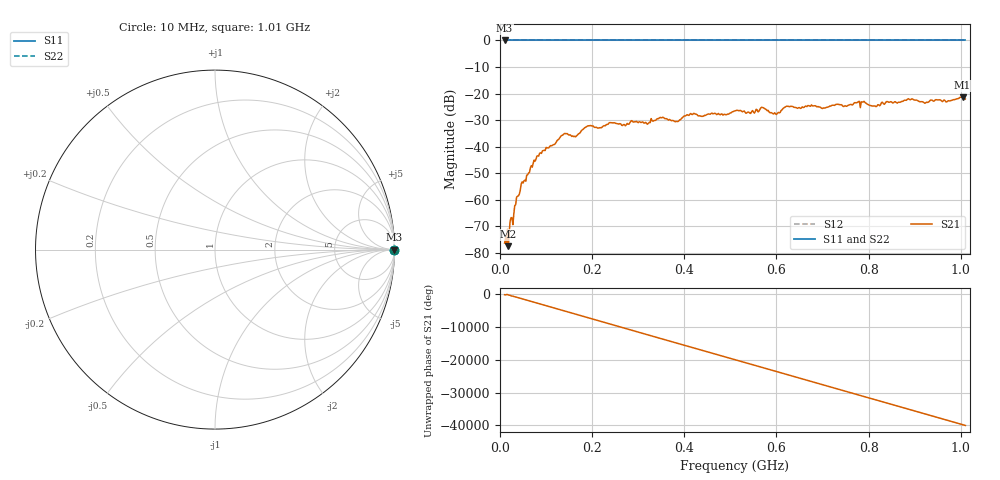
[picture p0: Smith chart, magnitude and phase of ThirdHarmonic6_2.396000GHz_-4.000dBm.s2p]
! 8/17/2025 3:55:03 AM
! C:\ANRITSUVNA\TEMP\TEMP.S2P
! CHANNEL.1
! TR.MEASUREMENT
! RAW.DATA
! RF.CORRECTION.OFF
! AVERAGING.OFF
! IF.BANDWIDTH: 5KHZ
! SWEEPTYPE:  FREQ.SWEEP(Linear)
! Reference Plane Port Info
! PORT:  PORT1  PORT2
! DISTANCE:  0  m  0  m
! TIME:  0  s  0  s
! PHASE.OFFSET:  0  deg.  0  deg.
! LOSS:  0  dB  0  dB
! REF.LOSS:  0  dB  0  dB
! REF.FREQ:  0  Hz  0  Hz
! Power Info
! POWER:  -20  dBm  -20  dBm
! EFF.POWER:  -20  dBm  -20  dBm
! SOURCE.ATTEN:  0  dB  0  dB
! TEST.ATTEN:  0  dB  0  dB
# GHZ S RI R 50.0
! FREQ.GHZ  S11RE  S11IM  S21RE  S21IM  S12RE  S12IM  S22RE  S22IM
!; PortSelection: Port_12
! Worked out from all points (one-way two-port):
!   501 points, 10 MHz to 1.01 GHz, reference 50 ohm
!   highest |S21| = -21.33 dB at 1.004 GHz (marker M1); lowest = -77.4 dB at 18 MHz (marker M2)
!   lowest |S11| = 0.0 dB at 10 MHz (marker M3)
!   |S11| at or under -10 dB: nowhere
!   |S22| runs from 0.0 to 0.0 dB; largest |S21 - S12| = 1.1
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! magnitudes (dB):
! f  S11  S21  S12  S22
! 10 MHz  0.0  -76.3  0.0  0.0
! 18 MHz  0.0  -77.4  0.0  0.0
! 36 MHz  0.0  -59.0  0.0  0.0
! 48 MHz  0.0  -53.2  0.0  0.0
! 78 MHz  0.0  -44.8  0.0  0.0
! 136 MHz  0.0  -35.6  0.0  0.0
! 164 MHz  0.0  -36.3  0.0  0.0
! 178 MHz  0.0  -33.7  0.0  0.0
! 194 MHz  0.0  -32.1  0.0  0.0
! 344 MHz  0.0  -29.4  0.0  0.0
! 384 MHz  0.0  -30.5  0.0  0.0
! 416 MHz  0.0  -27.8  0.0  0.0
! 510 MHz  0.0  -26.5  0.0  0.0
! 570 MHz  0.0  -25.2  0.0  0.0
! 596 MHz  0.0  -27.2  0.0  0.0
! 622 MHz  0.0  -24.7  0.0  0.0
! 678 MHz  0.0  -24.6  0.0  0.0
! 788 MHz  0.0  -23.2  0.0  0.0
! 814 MHz  0.0  -24.7  0.0  0.0
! 844 MHz  0.0  -23.3  0.0  0.0
! 1.004 GHz  0.0  -21.3  0.0  0.0
! 1.01 GHz  0.0  -22.0  0.0  0.0
